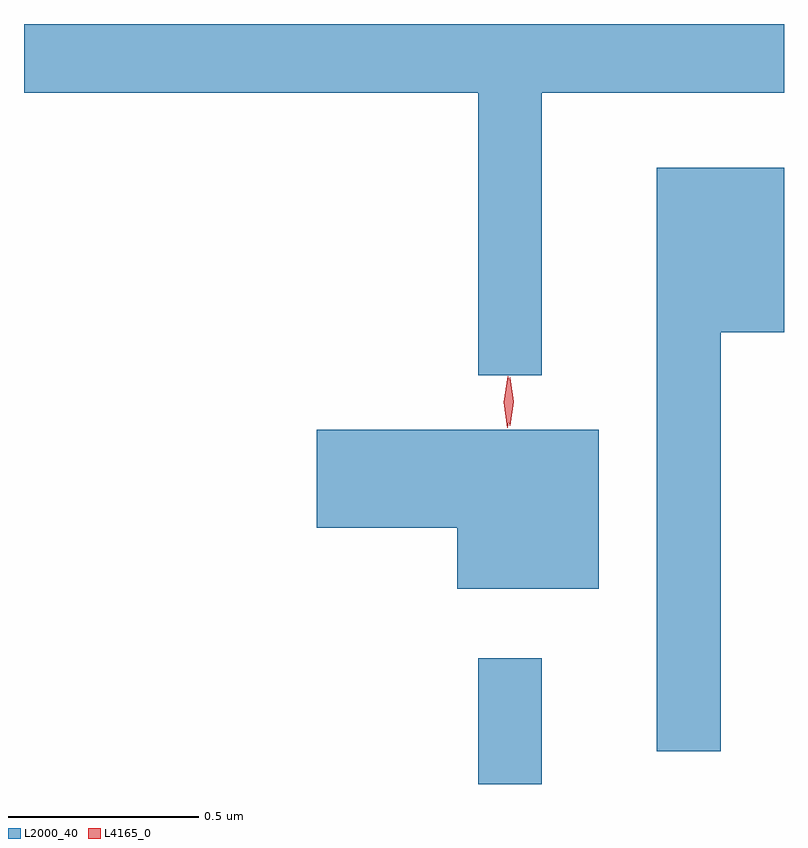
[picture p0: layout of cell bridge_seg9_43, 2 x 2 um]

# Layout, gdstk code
import gdstk
lib = gdstk.Library(unit=1e-6, precision=1e-09)
def R(c, l, rs):  # rectangles x0, y0, x1, y1
    for r in rs: c.add(gdstk.rectangle(r[:2], r[2:], *l))
def P(c, l, *ps):  # polygons
    for p in ps: c.add(gdstk.Polygon(p, *l))
L2000_40 = (2000, 40)
L4165_0 = (4165, 0)

bridge_seg9_43 = lib.new_cell('bridge_seg9_43')
R(bridge_seg9_43, L2000_40, [(1517.011,1992.217,1517.179,1992.548)])
P(bridge_seg9_43, L2000_40, [(1517.179,1994.036),(1517.816,1994.036),(1517.816,1994.217),(1515.816,1994.217),(1515.816,1994.036),(1517.011,1994.036),(1517.011,1993.293),(1517.179,1993.293)],
  [(1517.649,1993.406),(1517.816,1993.406),(1517.816,1993.839),(1517.481,1993.839),(1517.481,1992.303),(1517.649,1992.303)],
  [(1517.329,1993.149),(1516.586,1993.149),(1516.586,1992.891),(1516.956,1992.891),(1516.956,1992.731),(1517.329,1992.731)])
P(bridge_seg9_43, L4165_0, [(1517.088,1993.154),(1517.088,1993.154),(1517.079,1993.222),(1517.089,1993.29),(1517.09,1993.29),(1517.09,1993.29),(1517.099,1993.222),(1517.089,1993.154)],
  [(1517.094,1993.16),(1517.085,1993.223),(1517.094,1993.286),(1517.095,1993.287),(1517.096,1993.286),(1517.105,1993.223),(1517.096,1993.16),(1517.095,1993.16)])

lib.write_gds('bridge_seg9_43.gds')
